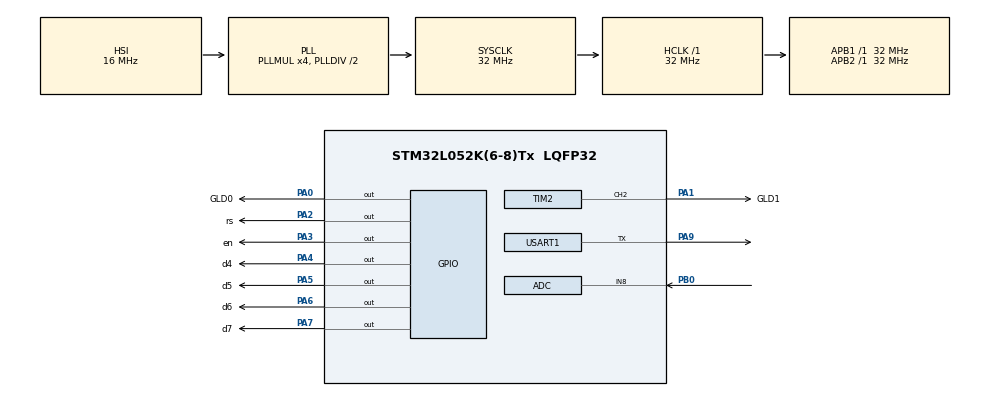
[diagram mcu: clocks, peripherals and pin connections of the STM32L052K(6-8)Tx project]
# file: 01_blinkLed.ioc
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ADC.ContinuousConvMode=ENABLE
Mcu.Family=STM32L0
Mcu.Name=STM32L052K(6-8)Tx
Mcu.Package=LQFP32
PA0.GPIO_Label=GLD0
PA0.Signal=GPIO_Output
PA1.GPIO_Label=GLD1
PA1.Signal=S_TIM2_CH2
PA13.Mode=Serial_Wire
PA13.Signal=SYS_SWDIO
PA14.Mode=Serial_Wire
PA14.Signal=SYS_SWCLK
PA2.GPIO_Label=rs
PA2.Signal=GPIO_Output
PA3.GPIO_Label=en
PA3.Signal=GPIO_Output
PA4.GPIO_Label=d4
PA4.Signal=GPIO_Output
PA5.GPIO_Label=d5
PA5.Signal=GPIO_Output
PA6.GPIO_Label=d6
PA6.Signal=GPIO_Output
PA7.GPIO_Label=d7
PA7.Signal=GPIO_Output
PA9.Mode=Half_duplex(single_wire_mode)
PA9.Signal=USART1_TX
PB0.Mode=IN8
PB0.Signal=ADC_IN8
ProjectManager.HeapSize=0x200
ProjectManager.StackSize=0x400
ProjectManager.TargetToolchain=TrueSTUDIO
RCC.AHBFreq_Value=32000000
RCC.APB1Freq_Value=32000000
RCC.APB1TimFreq_Value=32000000
RCC.APB2Freq_Value=32000000
RCC.APB2TimFreq_Value=32000000
RCC.HCLKFreq_Value=32000000
RCC.HSI16_VALUE=16000000
RCC.HSI48_VALUE=48000000
RCC.HSI_VALUE=16000000
RCC.LSE_VALUE=32768
RCC.MSI_VALUE=2097000
RCC.PLLMUL=RCC_PLLMUL_4
RCC.SYSCLKFreq_VALUE=32000000
RCC.SYSCLKSource=RCC_SYSCLKSOURCE_PLLCLK
RCC.VCOOutputFreq_Value=64000000
SH.S_TIM2_CH2.0=TIM2_CH2,PWM Generation2 CH2
TIM2.AutoReloadPreload=TIM_AUTORELOAD_PRELOAD_ENABLE
TIM2.Channel-PWM\ Generation2\ CH2=TIM_CHANNEL_2
TIM2.Period=1024-1
TIM2.Prescaler=320-1
USART1.Mode=MODE_TX
USART1.VirtualMode-Half_duplex(single_wire_mode)=VM_ASYNC
VP_TIM2_VS_ClockSourceINT.Mode=Internal
board=custom

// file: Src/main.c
/* USER CODE BEGIN Header */
/**
 ******************************************************************************
 * @file           : main.c
 * @brief          : Main program body
 ******************************************************************************
 * @attention
 *
 * <h2><center>&copy; Copyright (c) 2020 STMicroelectronics.
 * All rights reserved.</center></h2>
 *
 * This software component is licensed by ST under BSD 3-Clause license,
 * the "License"; You may not use this file except in compliance with the
 * License. You may obtain a copy of the License at:
 *                        opensource.org/licenses/BSD-3-Clause
 *
 ******************************************************************************
 */
/* USER CODE END Header */

#include "main.h"

/* USER CODE BEGIN Includes */
#include <stdio.h>
#include "lcd.h"
/* USER CODE END Includes */

ADC_HandleTypeDef hadc;

TIM_HandleTypeDef htim2;

UART_HandleTypeDef huart1;

void SystemClock_Config(void);
static void MX_GPIO_Init(void);
static void MX_TIM2_Init(void);
static void MX_USART1_UART_Init(void);
static void MX_ADC_Init(void);

/* USER CODE BEGIN 0 */
// Advanced macro to swap routine names and parameters.
#define D0_Pin GPIO_PIN_0
#define D0_GPIO_Port GPIOA

#define digitalWrite(PIN_NAME,PIN_STATE) \
HAL_GPIO_WritePin(D##PIN_NAME##_GPIO_Port,D##PIN_NAME##_Pin,GPIO_PIN_##PIN_STATE)

#define digitalRead(PIN_NAME) \
HAL_GPIO_ReadPin(D##PIN_NAME##_GPIO_Port,D##PIN_NAME##_Pin)

#ifdef __GNUC__
/* With GCC/RAISONANCE, small printf (option LD Linker->Libraries->Small printf
 set to 'Yes') calls __io_putchar() */
#define PUTCHAR_PROTOTYPE int __io_putchar(int ch)
#else
#define PUTCHAR_PROTOTYPE int fputc(int ch, FILE *f)
#endif /* __GNUC__ */
/**
 * @brief  Retargets the C library printf function to the USART.
 * @param  None
 * @retval None
 */
PUTCHAR_PROTOTYPE {
	/* Place your implementation of fputc here */
	/* e.g. write a character to the EVAL_COM1 and Loop until the end of transmission */
	HAL_UART_Transmit(&huart1, (uint8_t *) &ch, 1, 0xFFFF);

	return ch;
}
/* USER CODE END 0 */

int main(void)
{
  /* USER CODE BEGIN 1 */
	uint8_t lcdFlag = 0;
	char adcString[30];

  /* USER CODE END 1 */

  /* MCU Configuration--------------------------------------------------------*/

  /* Reset of all peripherals, Initializes the Flash interface and the Systick. */
  HAL_Init();

  /* Configure the system clock */
  SystemClock_Config();

  /* Initialize all configured peripherals */
  MX_GPIO_Init();
  MX_TIM2_Init();
  MX_USART1_UART_Init();
  MX_ADC_Init();
  /* USER CODE BEGIN 2 */
	HAL_TIM_PWM_Start(&htim2, TIM_CHANNEL_2);
	HAL_ADC_Start(&hadc);
  /* USER CODE END 2 */

  /* Infinite loop */
  /* USER CODE BEGIN WHILE */
	while (1) {

		volatile uint16_t adcSum = 0;
		static uint8_t ledState = 1;
		if (lcdFlag == 0) {
			lcdFlag = 1;
			LCD_Init();
		}

		if (ledState) {
			ledState = 0;
			//HAL_GPIO_WritePin(GPIOA, GPIO_PIN_0, GPIO_PIN_RESET);
			digitalWrite(0, RESET);
		} else {
			ledState = 1;
			//HAL_GPIO_WritePin(GPIOA, GPIO_PIN_0, GPIO_PIN_SET);
			digitalWrite(0, SET);
		}
		static uint16_t rcc = 0;
		//__HAL_TIM_SET_COMPARE(&htim2, TIM_CHANNEL_2, rcc);

		HAL_Delay(100);
		if (rcc > TIM2->ARR)
			rcc = 0;
		else
			rcc += 50;
		//HAL_GPIO_TogglePin(GLD0_GPIO_Port, GLD0_Pin);

		for (int i = 0; i < 8; i++) {
			adcSum += HAL_ADC_GetValue(&hadc);
			HAL_Delay(1);
		}
		adcSum = adcSum >> 3; //average
		adcSum = adcSum >> 2;
		adcSum = (adcSum - 300 < 0) ? 0 : (adcSum - 30);
		//adcSum = ((adcSum-100) < 0) ? 0 : (adcSum-100);
		//adcSum = adcSum << 4;
		__HAL_TIM_SET_COMPARE(&htim2, TIM_CHANNEL_2, adcSum);
		printf("rcc: %d, adc: %d\r\n", rcc, adcSum);
		sprintf(adcString, "adc value: %d", adcSum);
		LCD_Puts(0, 0, adcString);
    /* USER CODE END WHILE */

	}
}

void SystemClock_Config(void)
{
  RCC_OscInitTypeDef RCC_OscInitStruct = {0};
  RCC_ClkInitTypeDef RCC_ClkInitStruct = {0};
  RCC_PeriphCLKInitTypeDef PeriphClkInit = {0};

  /** Configure the main internal regulator output voltage
  */
  __HAL_PWR_VOLTAGESCALING_CONFIG(PWR_REGULATOR_VOLTAGE_SCALE1);
  /** Initializes the CPU, AHB and APB busses clocks
  */
  RCC_OscInitStruct.OscillatorType = RCC_OSCILLATORTYPE_HSI;
  RCC_OscInitStruct.HSIState = RCC_HSI_ON;
  RCC_OscInitStruct.HSICalibrationValue = RCC_HSICALIBRATION_DEFAULT;
  RCC_OscInitStruct.PLL.PLLState = RCC_PLL_ON;
  RCC_OscInitStruct.PLL.PLLSource = RCC_PLLSOURCE_HSI;
  RCC_OscInitStruct.PLL.PLLMUL = RCC_PLLMUL_4;
  RCC_OscInitStruct.PLL.PLLDIV = RCC_PLLDIV_2;
  if (HAL_RCC_OscConfig(&RCC_OscInitStruct) != HAL_OK)
  {
    Error_Handler();
  }
  /** Initializes the CPU, AHB and APB busses clocks
  */
  RCC_ClkInitStruct.ClockType = RCC_CLOCKTYPE_HCLK|RCC_CLOCKTYPE_SYSCLK
                              |RCC_CLOCKTYPE_PCLK1|RCC_CLOCKTYPE_PCLK2;
  RCC_ClkInitStruct.SYSCLKSource = RCC_SYSCLKSOURCE_PLLCLK;
  RCC_ClkInitStruct.AHBCLKDivider = RCC_SYSCLK_DIV1;
  RCC_ClkInitStruct.APB1CLKDivider = RCC_HCLK_DIV1;
  RCC_ClkInitStruct.APB2CLKDivider = RCC_HCLK_DIV1;

  if (HAL_RCC_ClockConfig(&RCC_ClkInitStruct, FLASH_LATENCY_1) != HAL_OK)
  {
    Error_Handler();
  }
  PeriphClkInit.PeriphClockSelection = RCC_PERIPHCLK_USART1;
  PeriphClkInit.Usart1ClockSelection = RCC_USART1CLKSOURCE_PCLK2;
  if (HAL_RCCEx_PeriphCLKConfig(&PeriphClkInit) != HAL_OK)
  {
    Error_Handler();
  }
}

static void MX_ADC_Init(void)
{

  ADC_ChannelConfTypeDef sConfig = {0};

  /** Configure the global features of the ADC (Clock, Resolution, Data Alignment and number of conversion)
  */
  hadc.Instance = ADC1;
  hadc.Init.OversamplingMode = DISABLE;
  hadc.Init.ClockPrescaler = ADC_CLOCK_SYNC_PCLK_DIV2;
  hadc.Init.Resolution = ADC_RESOLUTION_12B;
  hadc.Init.SamplingTime = ADC_SAMPLETIME_1CYCLE_5;
  hadc.Init.ScanConvMode = ADC_SCAN_DIRECTION_FORWARD;
  hadc.Init.DataAlign = ADC_DATAALIGN_RIGHT;
  hadc.Init.ContinuousConvMode = ENABLE;
  hadc.Init.DiscontinuousConvMode = DISABLE;
  hadc.Init.ExternalTrigConvEdge = ADC_EXTERNALTRIGCONVEDGE_NONE;
  hadc.Init.ExternalTrigConv = ADC_SOFTWARE_START;
  hadc.Init.DMAContinuousRequests = DISABLE;
  hadc.Init.EOCSelection = ADC_EOC_SINGLE_CONV;
  hadc.Init.Overrun = ADC_OVR_DATA_PRESERVED;
  hadc.Init.LowPowerAutoWait = DISABLE;
  hadc.Init.LowPowerFrequencyMode = DISABLE;
  hadc.Init.LowPowerAutoPowerOff = DISABLE;
  if (HAL_ADC_Init(&hadc) != HAL_OK)
  {
    Error_Handler();
  }
  /** Configure for the selected ADC regular channel to be converted.
  */
  sConfig.Channel = ADC_CHANNEL_8;
  sConfig.Rank = ADC_RANK_CHANNEL_NUMBER;
  if (HAL_ADC_ConfigChannel(&hadc, &sConfig) != HAL_OK)
  {
    Error_Handler();
  }

}

static void MX_TIM2_Init(void)
{

  TIM_ClockConfigTypeDef sClockSourceConfig = {0};
  TIM_MasterConfigTypeDef sMasterConfig = {0};
  TIM_OC_InitTypeDef sConfigOC = {0};

  htim2.Instance = TIM2;
  htim2.Init.Prescaler = 320-1;
  htim2.Init.CounterMode = TIM_COUNTERMODE_UP;
  htim2.Init.Period = 1024-1;
  htim2.Init.ClockDivision = TIM_CLOCKDIVISION_DIV1;
  htim2.Init.AutoReloadPreload = TIM_AUTORELOAD_PRELOAD_ENABLE;
  if (HAL_TIM_Base_Init(&htim2) != HAL_OK)
  {
    Error_Handler();
  }
  sClockSourceConfig.ClockSource = TIM_CLOCKSOURCE_INTERNAL;
  if (HAL_TIM_ConfigClockSource(&htim2, &sClockSourceConfig) != HAL_OK)
  {
    Error_Handler();
  }
  if (HAL_TIM_PWM_Init(&htim2) != HAL_OK)
  {
    Error_Handler();
  }
  sMasterConfig.MasterOutputTrigger = TIM_TRGO_RESET;
  sMasterConfig.MasterSlaveMode = TIM_MASTERSLAVEMODE_DISABLE;
  if (HAL_TIMEx_MasterConfigSynchronization(&htim2, &sMasterConfig) != HAL_OK)
  {
    Error_Handler();
  }
  sConfigOC.OCMode = TIM_OCMODE_PWM1;
  sConfigOC.Pulse = 0;
  sConfigOC.OCPolarity = TIM_OCPOLARITY_HIGH;
  sConfigOC.OCFastMode = TIM_OCFAST_DISABLE;
  if (HAL_TIM_PWM_ConfigChannel(&htim2, &sConfigOC, TIM_CHANNEL_2) != HAL_OK)
  {
    Error_Handler();
  }
  HAL_TIM_MspPostInit(&htim2);

}

static void MX_USART1_UART_Init(void)
{

  huart1.Instance = USART1;
  huart1.Init.BaudRate = 115200;
  huart1.Init.WordLength = UART_WORDLENGTH_8B;
  huart1.Init.StopBits = UART_STOPBITS_1;
  huart1.Init.Parity = UART_PARITY_NONE;
  huart1.Init.Mode = UART_MODE_TX;
  huart1.Init.HwFlowCtl = UART_HWCONTROL_NONE;
  huart1.Init.OverSampling = UART_OVERSAMPLING_16;
  huart1.Init.OneBitSampling = UART_ONE_BIT_SAMPLE_DISABLE;
  huart1.AdvancedInit.AdvFeatureInit = UART_ADVFEATURE_NO_INIT;
  if (HAL_HalfDuplex_Init(&huart1) != HAL_OK)
  {
    Error_Handler();
  }

}

static void MX_GPIO_Init(void)
{
  GPIO_InitTypeDef GPIO_InitStruct = {0};

  /* GPIO Ports Clock Enable */
  __HAL_RCC_GPIOA_CLK_ENABLE();
  __HAL_RCC_GPIOB_CLK_ENABLE();

  /*Configure GPIO pin Output Level */
  HAL_GPIO_WritePin(GPIOA, GLD0_Pin|rs_Pin|en_Pin|d4_Pin
                          |d5_Pin|d6_Pin|d7_Pin, GPIO_PIN_RESET);

  /*Configure GPIO pins : GLD0_Pin rs_Pin en_Pin d4_Pin
                           d5_Pin d6_Pin d7_Pin */
  GPIO_InitStruct.Pin = GLD0_Pin|rs_Pin|en_Pin|d4_Pin
                          |d5_Pin|d6_Pin|d7_Pin;
  GPIO_InitStruct.Mode = GPIO_MODE_OUTPUT_PP;
  GPIO_InitStruct.Pull = GPIO_NOPULL;
  GPIO_InitStruct.Speed = GPIO_SPEED_FREQ_LOW;
  HAL_GPIO_Init(GPIOA, &GPIO_InitStruct);

}

void Error_Handler(void)
{
}

/************************ (C) COPYRIGHT STMicroelectronics *****END OF FILE****/
